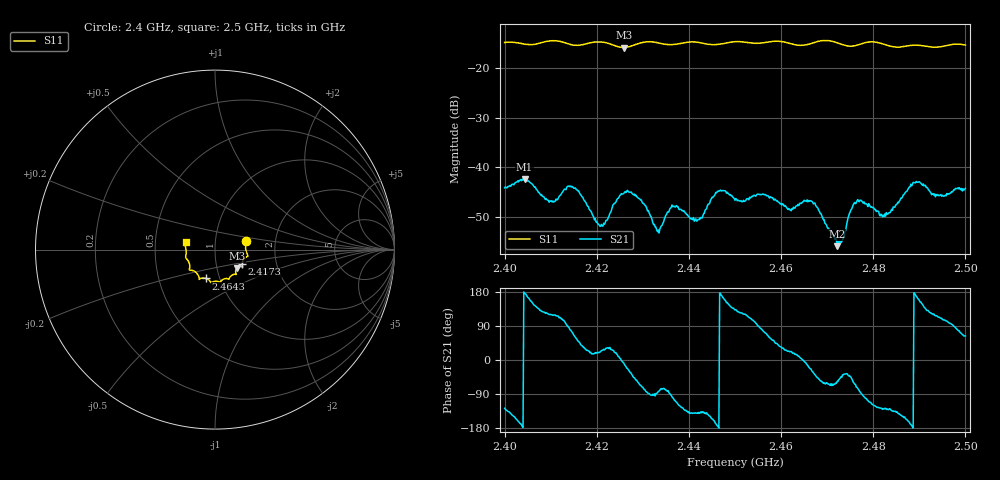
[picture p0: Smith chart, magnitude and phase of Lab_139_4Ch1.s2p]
# Hz S RI R 50
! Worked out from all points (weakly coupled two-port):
!   601 points, 2.4 GHz to 2.5 GHz, reference 50 ohm
!   highest |S21| = -42.39 dB at 2.4043 GHz (marker M1); lowest = -55.9 dB at 2.4722 GHz (marker M2)
!   lowest |S11| = -15.9 dB at 2.4258 GHz (marker M3), VSWR 1.38, Z = 62.3 - j13.3 ohm
!   |S11| at or under -10 dB: start of sweep to end of sweep
!   S12 and S22 are empty: the file has one direction only
!   S11 on the Smith chart (normalised r, x): 2.4 GHz: 1.41, +0.14; 2.4173 GHz: 1.34, -0.23; 2.4643 GHz: 0.86, -0.28; 2.5 GHz: 0.72, +0.06
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2.4e9  0.1731 0.0487  -0.00378 -0.00494  0 0  0 0
2.404333e9  0.1717 0.022  -0.00757 0.000499  0 0  0 0
2.409833e9  0.1837 -0.0328  -0.00231 0.00396  0 0  0 0
2.414e9  0.1663 -0.0475  0.000581 0.00646  0 0  0 0
2.416667e9  0.1526 -0.0746  0.00402 0.00325  0 0  0 0
2.417333e9  0.1517 -0.082  0.00398 0.00235  0 0  0 0
2.421167e9  0.1535 -0.0968  0.00233 0.0011  0 0  0 0
2.425833e9  0.1219 -0.1036  0.0054 -0.000735  0 0  0 0
2.429333e9  0.1161 -0.1337  0.00199 -0.00436  0 0  0 0
2.433333e9  0.1129 -0.1375  0.000254 -0.00233  0 0  0 0
2.436333e9  0.0914 -0.1447  -0.000521 -0.00414  0 0  0 0
2.441667e9  0.0754 -0.1646  -0.00222 -0.00183  0 0  0 0
2.446333e9  0.0449 -0.1661  -0.00569 -0.000445  0 0  0 0
2.45e9  0.0287 -0.1809  -0.00311 0.00347  0 0  0 0
2.464333e9  -0.0498 -0.1606  0.00431 0.000311  0 0  0 0
2.466667e9  -0.0759 -0.1592  0.00399 -0.00219  0 0  0 0
2.472167e9  -0.0888 -0.1549  0.000891 -0.00134  0 0  0 0
2.476333e9  -0.1199 -0.1178  0.00138 -0.0042  0 0  0 0
2.483333e9  -0.1404 -0.0899  -0.00227 -0.00262  0 0  0 0
2.489167e9  -0.1629 -0.0449  -0.00691 0.000997  0 0  0 0
2.494e9  -0.1616 -0.00165  -0.00217 0.00487  0 0  0 0
2.5e9  -0.164 0.0428  0.00274 0.00549  0 0  0 0
